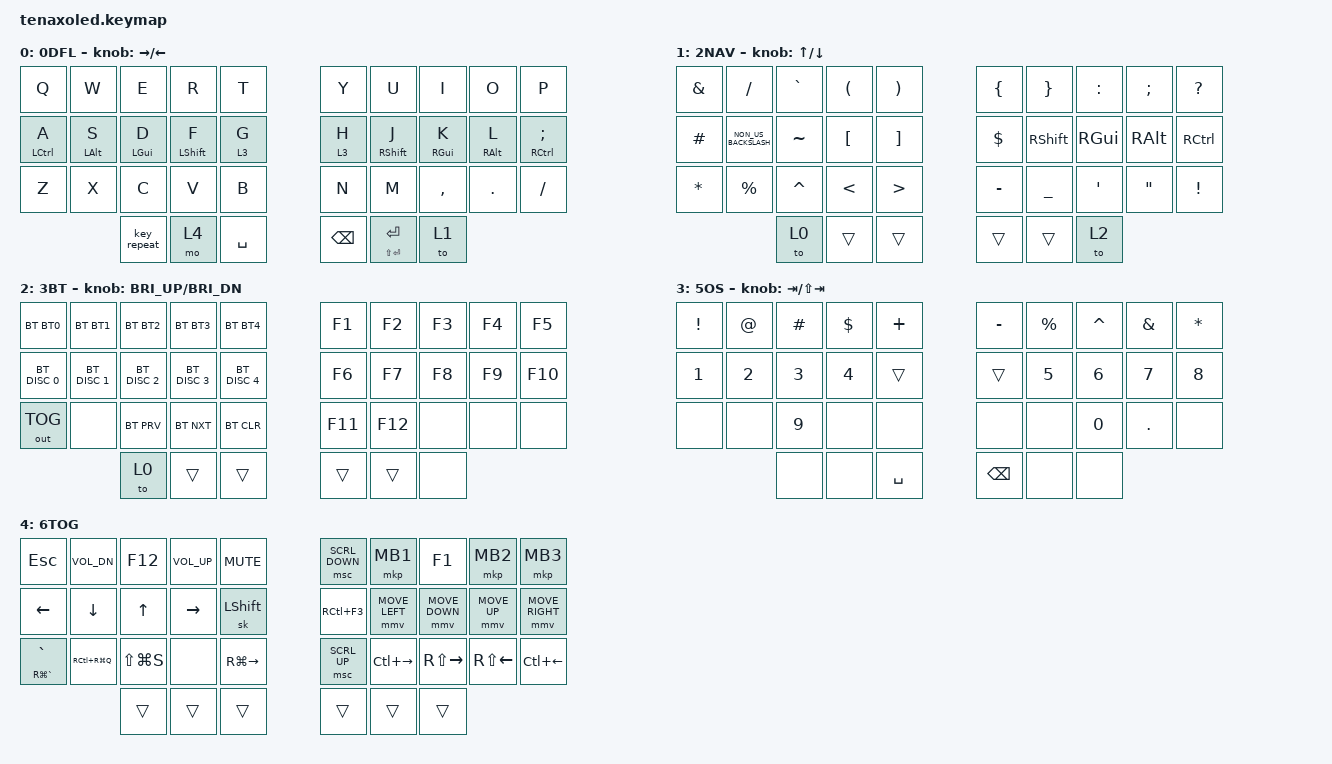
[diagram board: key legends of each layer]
/*
 * Copyright (c) 2020 The ZMK Contributors
 *
 * SPDX-License-Identifier: MIT
 */

#include <dt-bindings/zmk/mouse.h>
#include <behaviors.dtsi>
#include <dt-bindings/zmk/bt.h>
#include <dt-bindings/zmk/keys.h>
#include <dt-bindings/zmk/outputs.h>
#include <dt-bindings/zmk/pointing.h>

#define COMBO_TIMEOUT 60
#define BT0 BT_SEL 0
#define BT1 BT_SEL 1
#define BT2 BT_SEL 2
#define BT3 BT_SEL 3
#define BT4 BT_SEL 4

// &out OUT_BLE
// #define MO_TOG(layer) &mo_tog layer layer   // Macro to apply momentary-layer-on-hold/toggle-layer-on-tap to a specific layer
// &led_strip {
//    chain-length = <18>;
// };

&mt {
    tapping-term-ms = <500>;

    // retro-tap;
};

&lt { tapping-term-ms = <180>; };

&sk {
    release-after-ms = <3000>;
    quick-release;
};

&caps_word { continue-list = <UNDERSCORE MINUS SPACE BACKSPACE>; };

/ {
    combos {
        compatible = "zmk,combos";

        combo_dash {
            timeout-ms = <200>;
            key-positions = <5 15>;
            layers = <0 1>;
            bindings = <&kp MINUS>;
        };

        bt_clr {
            bindings = <&bt BT_CLR_ALL>;
            key-positions = <20 21 22 27 28 29>;
            layers = <2>;
        };

        combo_del {
            bindings = <&kp DELETE>;
            key-positions = <20 21>;
            timeout-ms = <200>;
            layers = <0>;
        };

        combo_dqt {
            bindings = <&kp SINGLE_QUOTE>;
            key-positions = <5 6>;
            layers = <0>;
            timeout-ms = <200>;
        };

        cmb_bspLine {
            bindings = <&kp LC(BACKSPACE)>;
            key-positions = <10 11>;
            layers = <0>;
        };

        combo-esc {
            bindings = <&kp ESCAPE>;
            key-positions = <0 1>;
        };

        combo-tab {
            bindings = <&kp TAB>;
            key-positions = <8 9>;
        };

        combo-capslock {
            bindings = <&caps_word>;
            key-positions = <24 25>;
        };

        combo-question {
            bindings = <&kp QUESTION>;
            key-positions = <23 24>;
        };

        combo-exclamation {
            bindings = <&kp EXCL>;
            key-positions = <25 26>;
        };

        keyrepeat {
            bindings = <&kp AT>;
            key-positions = <16 6>;
        };

        combo-chinese {
            bindings = <&kp LC(GRAVE)>;
            key-positions = <4 5>;
        };

        hold_shift {
            bindings = <&kp LEFT_SHIFT>;
            key-positions = <32 13>;
        };

        combo-sticky-shift {
            bindings = <&sk LEFT_SHIFT>;
            key-positions = <18 19>;
        };
    };

    behaviors {
        hold_shift: hold_shift {
            compatible = "zmk,behavior-smart-toggle";
            #binding-cells = <0>;
            bindings = <&kp RSHIFT>, <&none>;

            ignored-key-positions = <16 17 18 26 27 28>;
        };

        smart_moveline: smart_moveline {
            compatible = "zmk,behavior-smart-toggle";
            #binding-cells = <0>;
            bindings = <&kp RG(RALT)>, <&none>;

            ignored-key-positions = <7 17 27>;
        };

        td_esc: tap_dance_esc {
            compatible = "zmk,behavior-tap-dance";
            label = "TAP_DANCE_ESC";
            #binding-cells = <0>;
            tapping-term-ms = <200>;
            bindings = <&kp LALT>, <&kp ESC>;
        };

        macro_slideover: macro_slideover {
            label = "ZM_macro_slideover";
            compatible = "zmk,behavior-macro";
            #binding-cells = <0>;
            bindings =
                <&macro_press>,
                <&kp CAPS>,
                <&macro_tap>,
                <&kp BSLH>,
                <&macro_release>,
                <&kp CAPS>;
        };

        macro_windows: macro_windows {
            label = "ZM_macro_windows";
            compatible = "zmk,behavior-macro";
            #binding-cells = <0>;
            bindings =
                <&macro_press>,
                <&kp CAPS>,
                <&macro_tap>,
                <&kp DOWN>,
                <&macro_release>,
                <&kp CAPS>;
        };

        macro_switch: macro_switch {
            label = "ZM_macro_switch";
            compatible = "zmk,behavior-macro";
            #binding-cells = <0>;
            bindings =
                <&macro_press>,
                <&kp CAPS>,
                <&macro_tap>,
                <&kp GRAVE>,
                <&macro_release>,
                <&kp CAPS>;
        };

        FN_up: FN_up {
            compatible = "zmk,behavior-macro";
            label = "FN_UP";
            #binding-cells = <0>;
            bindings =
                <&macro_press>,
                <&kp CAPS>,
                <&macro_tap>,
                <&kp UP_ARROW>,
                <&macro_release>,
                <&kp CAPS>;
        };

        FN_down: FN_down {
            compatible = "zmk,behavior-macro";
            label = "FN_DOWN";
            #binding-cells = <0>;
            bindings =
                <&macro_press>,
                <&kp CAPS>,
                <&macro_tap>,
                <&kp DOWN>,
                <&macro_release>,
                <&kp CAPS>;
        };

        FN_left: FN_left {
            compatible = "zmk,behavior-macro";
            label = "FN_LEFT";
            #binding-cells = <0>;
            bindings =
                <&macro_press>,
                <&kp CAPS>,
                <&macro_tap>,
                <&kp LEFT>,
                <&macro_release>,
                <&kp CAPS>;
        };

        FN_right: FN_right {
            compatible = "zmk,behavior-macro";
            label = "FN_RIGHT";
            #binding-cells = <0>;
            bindings =
                <&macro_press>,
                <&kp CAPS>,
                <&macro_tap>,
                <&kp RIGHT>,
                <&macro_release>,
                <&kp CAPS>;
        };

        next_slideover: next_slideover {
            compatible = "zmk,behavior-macro";
            label = "NEXT_SLIDEOVER";
            #binding-cells = <0>;
            bindings =
                <&macro_press>,
                <&kp CAPS &kp LCMD>,
                <&macro_tap>,
                <&kp BSLH>,
                <&macro_release>,
                <&kp CAPS &kp LCMD>;
        };

        macro_displaylocn: macro_displaylocn {
            compatible = "zmk,behavior-macro";
            label = "MACRO_DISPLAYLOCN";
            #binding-cells = <0>;
            bindings =
                <&macro_press>,
                <&kp CAPS &kp LC(BACKSLASH)>,
                <&macro_release>;
        };

        hm: homerow_mods {
            compatible = "zmk,behavior-hold-tap";
            label = "HOMEROW_MODS";
            #binding-cells = <2>;
            tapping-term-ms = <400>;
            quick-tap-ms = <0>;
            flavor = "tap-preferred";
            bindings = <&kp>, <&kp>;
        };

        bspc_del: backspace_delete {
            compatible = "zmk,behavior-mod-morph";
            label = "BACKSPACE_DELETE";
            #binding-cells = <0>;
            bindings = <&kp BACKSPACE>, <&kp DELETE>;

            mods = <(MOD_LSFT|MOD_RSFT)>;
        };

        ht_hl: holdtap_homerowlayer {
            compatible = "zmk,behavior-hold-tap";
            label = "HOLDTAP_HOMELAY";
            #binding-cells = <2>;
            tapping-term-ms = <225>;
            flavor = "tap-preferred";
            require-prior-idle-ms = <125>;
            bindings = <&mo>, <&kp>;

            quick-tap-ms = <125>;
        };

        ht_shift: ht_shift {
            compatible = "zmk,behavior-hold-tap";
            label = "HT_SHIFT";
            bindings = <&kp>, <&kp>;

            #binding-cells = <2>;
            tapping-term-ms = <130>;
            flavor = "tap-preferred";
        };

        bsp_word: bsp_word {
            compatible = "zmk,behavior-mod-morph";
            label = "BSP_WORD";
            bindings = <&kp LA(BACKSPACE)>, <&kp LA(DELETE)>;

            #binding-cells = <0>;
            mods = <(MOD_LSFT|MOD_RSFT)>;
        };

        td_semic: td_semic {
            compatible = "zmk,behavior-tap-dance";
            label = "TD_SEMIC";
            #binding-cells = <0>;
            bindings = <&kp COMMA>, <&kp SEMI>;

            tapping-term-ms = <250>;
        };

        td_shiftCW: td_shiftCW {
            compatible = "zmk,behavior-tap-dance";
            label = "TD_SHIFTCW";
            #binding-cells = <0>;
            bindings = <&sk RIGHT_SHIFT>, <&caps_word>;

            tapping-term-ms = <300>;
        };

        left_arrow: left_arrow {
            compatible = "zmk,behavior-tap-dance";
            label = "LEFT_ARROW";
            #binding-cells = <0>;
            bindings = <&kp LEFT>, <&kp LG(LEFT_ARROW)>;

            tapping-term-ms = <225>;
        };

        right_arr: right_arr {
            compatible = "zmk,behavior-tap-dance";
            label = "RIGHT_ARR";
            #binding-cells = <0>;
            bindings = <&kp RIGHT>, <&kp LG(RIGHT)>;

            tapping-term-ms = <225>;
        };

        left_taphold: left_taphold {
            compatible = "zmk,behavior-hold-tap";
            label = "LEFT_TAPHOLD";
            bindings = <&kp>, <&kp>;

            #binding-cells = <2>;
            tapping-term-ms = <250>;
            flavor = "tap-preferred";
        };

        rght_taphold: rght_taphold {
            compatible = "zmk,behavior-hold-tap";
            label = "RGHT_TAPHOLD";
            bindings = <&kp>, <&kp>;

            #binding-cells = <2>;
            tapping-term-ms = <250>;
            flavor = "tap-preferred";
        };

        ht_hyper: ht_hyper {
            compatible = "zmk,behavior-hold-tap";
            label = "HT_HYPER";
            #binding-cells = <2>;
            tapping-term-ms = <225>;
            flavor = "tap-preferred";
            require-prior-idle-ms = <125>;
            quick-tap-ms = <125>;
            bindings = <&sk>, <&kp>;
        };

        mod_slash: mod_slash {
            compatible = "zmk,behavior-mod-morph";
            label = "MOD_SLASH";
            bindings = <&kp KP_SLASH>, <&kp BACKSLASH>;

            #binding-cells = <0>;
            mods = <(MOD_LSFT|MOD_RSFT)>;
        };

        pht_L2shift: pht_L2shift {
            compatible = "zmk,behavior-hold-tap";
            label = "PHT_L2SHIFT";
            bindings = <&kp>, <&kp>;

            #binding-cells = <2>;
            tapping-term-ms = <120>;
            flavor = "tap-preferred";
            hold-trigger-key-positions = <30 31 32 5 15 25 5 6 7 8 9 15 16 17 18 19 25 26 27 28 29>;
        };

        ArrowSelect: ArrowSelect {
            compatible = "zmk,behavior-hold-tap";
            label = "ARROWSELECT";
            bindings = <&kp>, <&kp>;

            #binding-cells = <2>;
            tapping-term-ms = <280>;
            flavor = "tap-preferred";
        };

        mod_qmarkcolon: mod_qmarkcolon {
            compatible = "zmk,behavior-mod-morph";
            label = "MOD_QMARKCOLON";
            bindings = <&kp QUESTION>, <&kp COLON>;

            #binding-cells = <0>;
            mods = <(MOD_LSFT|MOD_RSFT)>;
        };

        ht_capsword: ht_capsword {
            compatible = "zmk,behavior-hold-tap";
            label = "HT_CAPSWORD";
            bindings = <&kp>, <&caps_word>;

            #binding-cells = <2>;
            tapping-term-ms = <150>;
        };

        swapper: swapper {
            compatible = "zmk,behavior-smart-toggle";
            #binding-cells = <0>;
            bindings = <&kp RGUI>, <&kp TAB>;

            ignored-key-positions = <20 29 31>;
            label = "SWAPPER";
        };

        ht_swapper: ht_swapper {
            compatible = "zmk,behavior-hold-tap";
            label = "HT_SWAPPER";
            bindings = <&mo>, <&swapper>;

            #binding-cells = <2>;
            tapping-term-ms = <150>;
        };
    };

    macros {
    };

    keymap {
        compatible = "zmk,keymap";

        Default {
            display-name = "0DFL";
            bindings = <
&kp Q        &kp W           &kp E           &kp R             &kp T       &kp Y          &kp U                          &kp I            &kp O            &kp P
&hm LCTRL A  &hm LEFT_ALT S  &hm LEFT_GUI D  &hm LEFT_SHIFT F  &ht_hl 3 G  &ht_hl 3 H     &hm RIGHT_SHIFT J              &hm RIGHT_GUI K  &hm RIGHT_ALT L  &hm RCTRL SEMI
&kp Z        &kp X           &kp C           &kp V             &kp B       &kp N          &kp M                          &kp COMMA        &kp DOT          &kp FSLH
                             &key_repeat     &mo 4             &kp SPACE   &kp BACKSPACE  &rght_taphold LS(ENTER) ENTER  &to 1
            >;

            sensor-bindings = <&inc_dec_kp RIGHT LEFT>;
            label = "0DFL";
        };

        Symbol-Layer {
            display-name = "2NAV";
            bindings = <
&kp AMPS   &kp FSLH              &kp GRAVE  &kp LEFT_PARENTHESIS  &kp RIGHT_PARENTHESIS  &kp LEFT_BRACE  &kp RIGHT_BRACE  &kp COLON         &kp SEMI           &kp QUESTION
&kp HASH   &kp NON_US_BACKSLASH  &kp TILDE  &kp LEFT_BRACKET      &kp RIGHT_BRACKET      &kp DOLLAR      &kp RIGHT_SHIFT  &kp RGUI          &kp RALT           &kp RCTRL
&kp ASTRK  &kp PERCENT           &kp CARET  &kp LT                &kp GREATER_THAN       &kp MINUS       &kp UNDER        &kp SINGLE_QUOTE  &kp DOUBLE_QUOTES  &kp EXCL
                                 &to 0      &trans                &trans                 &trans          &trans           &to 2
            >;

            sensor-bindings = <&inc_dec_kp UP DOWN>;
            label = "2 NAV";
        };

        Bluetooth-Layer {
            display-name = "3BT";
            bindings = <
&bt BT0        &bt BT1        &bt BT2        &bt BT3        &bt BT4        &kp F1   &kp F2   &kp F3  &kp F4  &kp F5
&bt BT_DISC 0  &bt BT_DISC 1  &bt BT_DISC 2  &bt BT_DISC 3  &bt BT_DISC 4  &kp F6   &kp F7   &kp F8  &kp F9  &kp F10
&out OUT_TOG   &none          &bt BT_PRV     &bt BT_NXT     &bt BT_CLR     &kp F11  &kp F12  &none   &none   &none
                              &to 0          &trans         &trans         &trans   &trans   &none
            >;

            sensor-bindings = <&inc_dec_kp C_BRI_UP C_BRI_DN>;
            label = "3 BT";
        };

        Number-Layer {
            display-name = "5OS";
            bindings = <
&kp EXCL  &kp AT  &kp HASH      &kp DOLLAR  &kp PLUS   &kp MINUS      &kp PERCENT  &kp CARET     &kp AMPERSAND  &kp ASTRK
&kp N1    &kp N2  &kp N3        &kp N4      &trans     &trans         &kp N5       &kp N6        &kp N7         &kp N8
&none     &none   &kp NUMBER_9  &none       &none      &none          &none        &kp NUMBER_0  &kp DOT        &none
                  &none         &none       &kp SPACE  &kp BACKSPACE  &none        &none
            >;

            sensor-bindings = <&inc_dec_kp TAB LS(TAB)>;
            label = "5 OS";
        };

        Mouse-Control {
            display-name = "6TOG";
            bindings = <
&kp ESC                        &kp C_VOL_DN    &kp F12        &kp C_VOLUME_UP  &kp K_MUTE      &msc SCRL_DOWN  &mkp MB1        &kp F1          &mkp MB2            &mkp MB3
&kp LEFT                       &kp DOWN_ARROW  &kp UP_ARROW   &kp RIGHT        &sk LEFT_SHIFT  &kp RC(F3)      &mmv MOVE_LEFT  &mmv MOVE_DOWN  &mmv MOVE_UP        &mmv MOVE_RIGHT
&left_taphold RG(GRAVE) GRAVE  &kp RC(RG(Q))   &kp LS(LG(S))  &none            &kp RG(RIGHT)   &msc SCRL_UP    &kp LC(RIGHT)   &kp RS(RIGHT)   &kp RS(LEFT_ARROW)  &kp LC(LEFT)
                                               &trans         &trans           &trans          &trans          &trans          &trans
            >;

            label = "6 TG";
        };
    };
};
